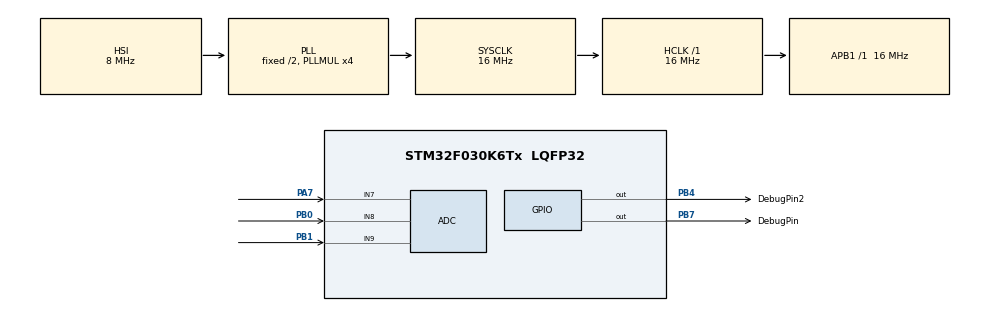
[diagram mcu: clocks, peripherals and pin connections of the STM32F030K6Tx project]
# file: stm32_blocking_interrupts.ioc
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ADC.ClockPrescaler=ADC_CLOCK_SYNC_PCLK_DIV4
ADC.ContinuousConvMode=ENABLE
ADC.DMAContinuousRequests=ENABLE
ADC.SamplingTime=ADC_SAMPLETIME_55CYCLES_5
Dma.ADC.0.Direction=DMA_PERIPH_TO_MEMORY
Dma.ADC.0.Instance=DMA1_Channel1
Dma.ADC.0.MemDataAlignment=DMA_MDATAALIGN_HALFWORD
Dma.ADC.0.MemInc=DMA_MINC_ENABLE
Dma.ADC.0.Mode=DMA_CIRCULAR
Dma.ADC.0.PeriphDataAlignment=DMA_PDATAALIGN_HALFWORD
Dma.ADC.0.PeriphInc=DMA_PINC_DISABLE
Dma.ADC.0.Priority=DMA_PRIORITY_LOW
Dma.Request0=ADC
Mcu.Family=STM32F0
Mcu.Name=STM32F030K6Tx
Mcu.Package=LQFP32
NVIC.DMA1_Channel1_IRQn=true\:0\:0\:false\:false\:true\:false\:true
NVIC.TIM1_BRK_UP_TRG_COM_IRQn=true\:0\:0\:false\:false\:true\:true\:true
PA13.Mode=Serial_Wire
PA13.Signal=SYS_SWDIO
PA14.Mode=Serial_Wire
PA14.Signal=SYS_SWCLK
PA7.Mode=IN7
PA7.Signal=ADC_IN7
PB0.Mode=IN8
PB0.Signal=ADC_IN8
PB1.Mode=IN9
PB1.Signal=ADC_IN9
PB4.GPIO_Label=DebugPin2
PB4.Signal=GPIO_Output
PB7.GPIO_Label=DebugPin
PB7.Signal=GPIO_Output
ProjectManager.HeapSize=0x200
ProjectManager.StackSize=0x400
ProjectManager.TargetToolchain=STM32CubeIDE
RCC.AHBFreq_Value=16000000
RCC.APB1Freq_Value=16000000
RCC.APB1TimFreq_Value=16000000
RCC.HCLKFreq_Value=16000000
RCC.PLLMUL=RCC_PLL_MUL4
RCC.SYSCLKFreq_VALUE=16000000
RCC.SYSCLKSource=RCC_SYSCLKSOURCE_PLLCLK
TIM1.Period=16000-1
VP_TIM1_VS_ClockSourceINT.Mode=Internal
board=custom

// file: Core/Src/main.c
/* USER CODE BEGIN Header */
/**
  ******************************************************************************
  * @file           : main.c
  * @brief          : Main program body
  ******************************************************************************
  * @attention
  *
  * Copyright (c) 2022 STMicroelectronics.
  * All rights reserved.
  *
  * This software is licensed under terms that can be found in the LICENSE file
  * in the root directory of this software component.
  * If no LICENSE file comes with this software, it is provided AS-IS.
  *
  ******************************************************************************
  */
/* USER CODE END Header */
#include "main.h"

ADC_HandleTypeDef hadc;
DMA_HandleTypeDef hdma_adc;

TIM_HandleTypeDef htim1;

/* USER CODE BEGIN PV */
uint16_t	AdcData[3];		// DMA buffer
/* USER CODE END PV */

void SystemClock_Config(void);
static void MX_GPIO_Init(void);
static void MX_DMA_Init(void);
static void MX_ADC_Init(void);
static void MX_TIM1_Init(void);

/* USER CODE BEGIN 0 */

void HAL_ADC_ConvCpltCallback(ADC_HandleTypeDef *hadc)
{
	static uint32_t odr;
	/* Prevent unused argument(s) compilation warning */
	UNUSED(hadc);

//	HAL_GPIO_TogglePin(DebugPin_GPIO_Port, DebugPin_Pin);

	/* get current Ouput Data Register value */
	odr = ((GPIO_TypeDef*) DebugPin_GPIO_Port)->ODR;
	((GPIO_TypeDef*) DebugPin_GPIO_Port)->BSRR = ((odr & DebugPin_Pin) << 16u) | (~odr & DebugPin_Pin);

//	HAL_GPIO_TogglePin(DebugPin_GPIO_Port, DebugPin_Pin);
}

void HAL_TIM_PeriodElapsedCallback(TIM_HandleTypeDef *htim)
{
	uint32_t i;
	/* Prevent unused argument(s) compilation warning */
	UNUSED(htim);

	const uint32_t odr = ((GPIO_TypeDef*) DebugPin2_GPIO_Port)->ODR;
	((GPIO_TypeDef*) DebugPin2_GPIO_Port)->BSRR = ((odr & DebugPin2_Pin) << 16u)
			| (~odr & DebugPin2_Pin);

	for (i = 0; i < 500; i++) {
	  asm("nop");
	}
	((GPIO_TypeDef*) DebugPin2_GPIO_Port)->BSRR = ((odr & DebugPin2_Pin) << 16u)
			| (~odr & DebugPin2_Pin);

}

/* USER CODE END 0 */

int main(void)
{

  /* MCU Configuration--------------------------------------------------------*/

  /* Reset of all peripherals, Initializes the Flash interface and the Systick. */
  HAL_Init();

  /* Configure the system clock */
  SystemClock_Config();

  /* Initialize all configured peripherals */
  MX_GPIO_Init();
  MX_DMA_Init();
  MX_ADC_Init();
  MX_TIM1_Init();

  /* Infinite loop */
  /* USER CODE BEGIN WHILE */
  HAL_ADC_Start_DMA(&hadc, (uint32_t *)AdcData, 3);
  HAL_TIM_Base_Start_IT(&htim1);
  while (1)
  {
    /* USER CODE END WHILE */

  }
}

void SystemClock_Config(void)
{
  RCC_OscInitTypeDef RCC_OscInitStruct = {0};
  RCC_ClkInitTypeDef RCC_ClkInitStruct = {0};

  /** Initializes the RCC Oscillators according to the specified parameters
  * in the RCC_OscInitTypeDef structure.
  */
  RCC_OscInitStruct.OscillatorType = RCC_OSCILLATORTYPE_HSI;
  RCC_OscInitStruct.HSIState = RCC_HSI_ON;
  RCC_OscInitStruct.HSICalibrationValue = RCC_HSICALIBRATION_DEFAULT;
  RCC_OscInitStruct.PLL.PLLState = RCC_PLL_ON;
  RCC_OscInitStruct.PLL.PLLSource = RCC_PLLSOURCE_HSI;
  RCC_OscInitStruct.PLL.PLLMUL = RCC_PLL_MUL4;
  RCC_OscInitStruct.PLL.PREDIV = RCC_PREDIV_DIV1;
  if (HAL_RCC_OscConfig(&RCC_OscInitStruct) != HAL_OK)
  {
    Error_Handler();
  }
  /** Initializes the CPU, AHB and APB buses clocks
  */
  RCC_ClkInitStruct.ClockType = RCC_CLOCKTYPE_HCLK|RCC_CLOCKTYPE_SYSCLK
                              |RCC_CLOCKTYPE_PCLK1;
  RCC_ClkInitStruct.SYSCLKSource = RCC_SYSCLKSOURCE_PLLCLK;
  RCC_ClkInitStruct.AHBCLKDivider = RCC_SYSCLK_DIV1;
  RCC_ClkInitStruct.APB1CLKDivider = RCC_HCLK_DIV1;

  if (HAL_RCC_ClockConfig(&RCC_ClkInitStruct, FLASH_LATENCY_0) != HAL_OK)
  {
    Error_Handler();
  }
}

static void MX_ADC_Init(void)
{

  ADC_ChannelConfTypeDef sConfig = {0};

  /** Configure the global features of the ADC (Clock, Resolution, Data Alignment and number of conversion)
  */
  hadc.Instance = ADC1;
  hadc.Init.ClockPrescaler = ADC_CLOCK_SYNC_PCLK_DIV4;
  hadc.Init.Resolution = ADC_RESOLUTION_12B;
  hadc.Init.DataAlign = ADC_DATAALIGN_RIGHT;
  hadc.Init.ScanConvMode = ADC_SCAN_DIRECTION_FORWARD;
  hadc.Init.EOCSelection = ADC_EOC_SINGLE_CONV;
  hadc.Init.LowPowerAutoWait = DISABLE;
  hadc.Init.LowPowerAutoPowerOff = DISABLE;
  hadc.Init.ContinuousConvMode = ENABLE;
  hadc.Init.DiscontinuousConvMode = DISABLE;
  hadc.Init.ExternalTrigConv = ADC_SOFTWARE_START;
  hadc.Init.ExternalTrigConvEdge = ADC_EXTERNALTRIGCONVEDGE_NONE;
  hadc.Init.DMAContinuousRequests = ENABLE;
  hadc.Init.Overrun = ADC_OVR_DATA_PRESERVED;
  if (HAL_ADC_Init(&hadc) != HAL_OK)
  {
    Error_Handler();
  }
  /** Configure for the selected ADC regular channel to be converted.
  */
  sConfig.Channel = ADC_CHANNEL_7;
  sConfig.Rank = ADC_RANK_CHANNEL_NUMBER;
  sConfig.SamplingTime = ADC_SAMPLETIME_55CYCLES_5;
  if (HAL_ADC_ConfigChannel(&hadc, &sConfig) != HAL_OK)
  {
    Error_Handler();
  }
  /** Configure for the selected ADC regular channel to be converted.
  */
  sConfig.Channel = ADC_CHANNEL_8;
  if (HAL_ADC_ConfigChannel(&hadc, &sConfig) != HAL_OK)
  {
    Error_Handler();
  }
  /** Configure for the selected ADC regular channel to be converted.
  */
  sConfig.Channel = ADC_CHANNEL_9;
  if (HAL_ADC_ConfigChannel(&hadc, &sConfig) != HAL_OK)
  {
    Error_Handler();
  }

}

static void MX_TIM1_Init(void)
{

  TIM_ClockConfigTypeDef sClockSourceConfig = {0};
  TIM_MasterConfigTypeDef sMasterConfig = {0};

  htim1.Instance = TIM1;
  htim1.Init.Prescaler = 0;
  htim1.Init.CounterMode = TIM_COUNTERMODE_UP;
  htim1.Init.Period = 16000-1;
  htim1.Init.ClockDivision = TIM_CLOCKDIVISION_DIV1;
  htim1.Init.RepetitionCounter = 0;
  htim1.Init.AutoReloadPreload = TIM_AUTORELOAD_PRELOAD_DISABLE;
  if (HAL_TIM_Base_Init(&htim1) != HAL_OK)
  {
    Error_Handler();
  }
  sClockSourceConfig.ClockSource = TIM_CLOCKSOURCE_INTERNAL;
  if (HAL_TIM_ConfigClockSource(&htim1, &sClockSourceConfig) != HAL_OK)
  {
    Error_Handler();
  }
  sMasterConfig.MasterOutputTrigger = TIM_TRGO_RESET;
  sMasterConfig.MasterSlaveMode = TIM_MASTERSLAVEMODE_DISABLE;
  if (HAL_TIMEx_MasterConfigSynchronization(&htim1, &sMasterConfig) != HAL_OK)
  {
    Error_Handler();
  }

}

static void MX_DMA_Init(void)
{

  /* DMA controller clock enable */
  __HAL_RCC_DMA1_CLK_ENABLE();

  /* DMA interrupt init */
  /* DMA1_Channel1_IRQn interrupt configuration */
  HAL_NVIC_SetPriority(DMA1_Channel1_IRQn, 0, 0);
  HAL_NVIC_EnableIRQ(DMA1_Channel1_IRQn);

}

static void MX_GPIO_Init(void)
{
  GPIO_InitTypeDef GPIO_InitStruct = {0};

  /* GPIO Ports Clock Enable */
  __HAL_RCC_GPIOA_CLK_ENABLE();
  __HAL_RCC_GPIOB_CLK_ENABLE();

  /*Configure GPIO pin Output Level */
  HAL_GPIO_WritePin(GPIOB, DebugPin2_Pin|DebugPin_Pin, GPIO_PIN_RESET);

  /*Configure GPIO pins : DebugPin2_Pin DebugPin_Pin */
  GPIO_InitStruct.Pin = DebugPin2_Pin|DebugPin_Pin;
  GPIO_InitStruct.Mode = GPIO_MODE_OUTPUT_PP;
  GPIO_InitStruct.Pull = GPIO_NOPULL;
  GPIO_InitStruct.Speed = GPIO_SPEED_FREQ_LOW;
  HAL_GPIO_Init(GPIOB, &GPIO_InitStruct);

}

void Error_Handler(void)
{
  __disable_irq();
  while (1)
  {
  }
}
